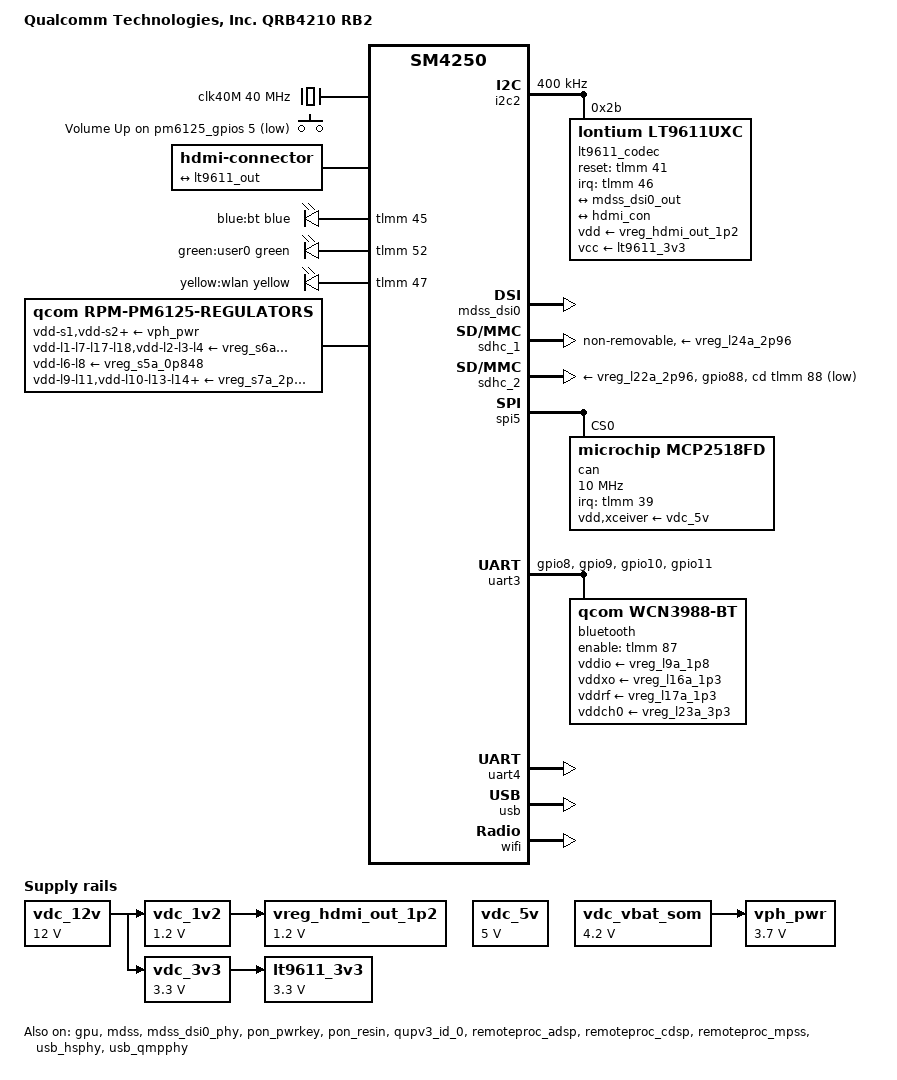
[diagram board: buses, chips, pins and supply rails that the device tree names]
// SPDX-License-Identifier: BSD-3-Clause
/*
 * Copyright (c) 2023, Linaro Limited
 */

/dts-v1/;

#include <dt-bindings/leds/common.h>
#include "sm4250.dtsi"
#include "pm6125.dtsi"

/ {
	model = "Qualcomm Technologies, Inc. QRB4210 RB2";
	compatible = "qcom,qrb4210-rb2", "qcom,qrb4210", "qcom,sm4250";

	aliases {
		serial0 = &uart4;
		serial1 = &uart3;
	};

	chosen {
		stdout-path = "serial0:115200n8";
	};

	clocks {
		clk40M: can-clk {
			compatible = "fixed-clock";
			clock-frequency = <40000000>;
			#clock-cells = <0>;
		};
	};

	gpio-keys {
		compatible = "gpio-keys";
		label = "gpio-keys";

		pinctrl-0 = <&kypd_vol_up_n>;
		pinctrl-names = "default";

		key-volume-up {
			label = "Volume Up";
			linux,code = <KEY_VOLUMEUP>;
			gpios = <&pm6125_gpios 5 GPIO_ACTIVE_LOW>;
			debounce-interval = <15>;
			linux,can-disable;
			wakeup-source;
		};
	};

	hdmi-connector {
		compatible = "hdmi-connector";
		type = "a";

		port {
			hdmi_con: endpoint {
				remote-endpoint = <&lt9611_out>;
			};
		};
	};

	leds {
		compatible = "gpio-leds";

		led-bt {
			label = "blue:bt";
			function = LED_FUNCTION_BLUETOOTH;
			color = <LED_COLOR_ID_BLUE>;
			gpios = <&tlmm 45 GPIO_ACTIVE_HIGH>;
			linux,default-trigger = "bluetooth-power";
			default-state = "off";
		};

		led-user0 {
			label = "green:user0";
			function = LED_FUNCTION_INDICATOR;
			color = <LED_COLOR_ID_GREEN>;
			gpios = <&tlmm 52 GPIO_ACTIVE_HIGH>;
			linux,default-trigger = "none";
			default-state = "off";
			panic-indicator;
		};

		led-wlan {
			label = "yellow:wlan";
			function = LED_FUNCTION_WLAN;
			color = <LED_COLOR_ID_YELLOW>;
			gpios = <&tlmm 47 GPIO_ACTIVE_HIGH>;
			linux,default-trigger = "phy0tx";
			default-state = "off";
		};
	};

	vreg_hdmi_out_1p2: regulator-hdmi-out-1p2 {
		compatible = "regulator-fixed";
		regulator-name = "VREG_HDMI_OUT_1P2";
		regulator-min-microvolt = <1200000>;
		regulator-max-microvolt = <1200000>;
		vin-supply = <&vdc_1v2>;
		regulator-always-on;
		regulator-boot-on;
	};

	lt9611_3v3: regulator-lt9611-3v3 {
		compatible = "regulator-fixed";
		regulator-name = "LT9611_3V3";
		regulator-min-microvolt = <3300000>;
		regulator-max-microvolt = <3300000>;
		vin-supply = <&vdc_3v3>;
		regulator-always-on;
		regulator-boot-on;
	};

	/* Main barrel jack input */
	vdc_12v: regulator-vdc-12v {
		compatible = "regulator-fixed";
		regulator-name = "DC_12V";
		regulator-min-microvolt = <12000000>;
		regulator-max-microvolt = <12000000>;
		regulator-always-on;
		regulator-boot-on;
	};

	/* 1.2V supply stepped down from the barrel jack input */
	vdc_1v2: regulator-vdc-1v2 {
		compatible = "regulator-fixed";
		regulator-name = "VDC_1V2";
		regulator-min-microvolt = <1200000>;
		regulator-max-microvolt = <1200000>;
		vin-supply = <&vdc_12v>;
		regulator-always-on;
		regulator-boot-on;
	};

	/* 3.3V supply stepped down from the barrel jack input */
	vdc_3v3: regulator-vdc-3v3 {
		compatible = "regulator-fixed";
		regulator-name = "VDC_3V3";
		regulator-min-microvolt = <3300000>;
		regulator-max-microvolt = <3300000>;
		vin-supply = <&vdc_12v>;
		regulator-always-on;
		regulator-boot-on;
	};

	/* 5V supply stepped down from the barrel jack input */
	vdc_5v: regulator-vdc-5v {
		compatible = "regulator-fixed";
		regulator-name = "VDC_5V";

		regulator-min-microvolt = <5000000>;
		regulator-max-microvolt = <5000000>;
		regulator-always-on;
		regulator-boot-on;
	};

	/* "Battery" voltage for the SoM, stepped down from the barrel jack input */
	vdc_vbat_som: regulator-vdc-vbat {
		compatible = "regulator-fixed";
		regulator-name = "VBAT_SOM";
		regulator-min-microvolt = <4200000>;
		regulator-max-microvolt = <4200000>;
		regulator-always-on;
		regulator-boot-on;
	};

	/* PMI632 charger out, supplied by VBAT */
	vph_pwr: regulator-vph-pwr {
		compatible = "regulator-fixed";
		regulator-name = "vph_pwr";
		regulator-min-microvolt = <3700000>;
		regulator-max-microvolt = <3700000>;
		vin-supply = <&vdc_vbat_som>;

		regulator-always-on;
		regulator-boot-on;
	};
};

&gpi_dma0 {
	status = "okay";
};

&gpu {
	status = "okay";

	zap-shader {
		firmware-name = "qcom/qrb4210/a610_zap.mbn";
	};
};

&i2c2 {
	clock-frequency = <400000>;
	status = "okay";

	lt9611_codec: hdmi-bridge@2b {
		compatible = "lontium,lt9611uxc";
		reg = <0x2b>;
		interrupts-extended = <&tlmm 46 IRQ_TYPE_EDGE_FALLING>;
		reset-gpios = <&tlmm 41 GPIO_ACTIVE_HIGH>;

		vdd-supply = <&vreg_hdmi_out_1p2>;
		vcc-supply = <&lt9611_3v3>;

		pinctrl-0 = <&lt9611_irq_pin &lt9611_rst_pin>;
		pinctrl-names = "default";
		#sound-dai-cells = <1>;

		ports {
			#address-cells = <1>;
			#size-cells = <0>;

			port@0 {
				reg = <0>;

				lt9611_a: endpoint {
					remote-endpoint = <&mdss_dsi0_out>;
				};
			};

			port@2 {
				reg = <2>;

				lt9611_out: endpoint {
					remote-endpoint = <&hdmi_con>;
				};
			};
		};
	};
};

&mdss {
	status = "okay";
};

&mdss_dsi0 {
	vdda-supply = <&vreg_l18a_1p232>;
	status = "okay";
};

&mdss_dsi0_out {
	remote-endpoint = <&lt9611_a>;
	data-lanes = <0 1 2 3>;
};

&mdss_dsi0_phy {
	status = "okay";
};

&pm6125_gpios {
	kypd_vol_up_n: kypd-vol-up-n-state {
		pins = "gpio5";
		function = "normal";
		power-source = <0>;
		bias-pull-up;
		input-enable;
	};
};

&pon_pwrkey {
	status = "okay";
};

&pon_resin {
	linux,code = <KEY_VOLUMEDOWN>;
	status = "okay";
};

&qupv3_id_0 {
	status = "okay";
};

&remoteproc_adsp {
	firmware-name = "qcom/qrb4210/adsp.mbn";

	status = "okay";
};

&remoteproc_cdsp {
	firmware-name = "qcom/qrb4210/cdsp.mbn";

	status = "okay";
};

&remoteproc_mpss {
	firmware-name = "qcom/qrb4210/modem.mbn";

	status = "okay";
};

&rpm_requests {
	regulators {
		compatible = "qcom,rpm-pm6125-regulators";

		vdd-s1-supply = <&vph_pwr>;
		vdd-s2-supply = <&vph_pwr>;
		vdd-s3-supply = <&vph_pwr>;
		vdd-s4-supply = <&vph_pwr>;
		vdd-s5-supply = <&vph_pwr>;
		vdd-s6-supply = <&vph_pwr>;
		vdd-s7-supply = <&vph_pwr>;
		vdd-s8-supply = <&vph_pwr>;
		vdd-s9-supply = <&vph_pwr>;
		vdd-s10-supply = <&vph_pwr>;

		vdd-l1-l7-l17-l18-supply = <&vreg_s6a_1p352>;
		vdd-l2-l3-l4-supply = <&vreg_s6a_1p352>;
		vdd-l5-l15-l19-l20-l21-l22-supply = <&vph_pwr>;
		vdd-l6-l8-supply = <&vreg_s5a_0p848>;
		vdd-l9-l11-supply = <&vreg_s7a_2p04>;
		vdd-l10-l13-l14-supply = <&vreg_s7a_2p04>;
		vdd-l12-l16-supply = <&vreg_s7a_2p04>;
		vdd-l23-l24-supply = <&vph_pwr>;

		vreg_s5a_0p848: s5 {
			regulator-min-microvolt = <920000>;
			regulator-max-microvolt = <1128000>;
		};

		vreg_s6a_1p352: s6 {
			regulator-min-microvolt = <304000>;
			regulator-max-microvolt = <1456000>;
		};

		vreg_s7a_2p04: s7 {
			regulator-min-microvolt = <1280000>;
			regulator-max-microvolt = <2080000>;
		};

		vreg_l1a_1p0: l1 {
			regulator-min-microvolt = <952000>;
			regulator-max-microvolt = <1152000>;
		};

		vreg_l4a_0p9: l4 {
			regulator-min-microvolt = <488000>;
			regulator-max-microvolt = <1000000>;
		};

		vreg_l5a_2p96: l5 {
			regulator-min-microvolt = <1648000>;
			regulator-max-microvolt = <3056000>;
			regulator-allow-set-load;
		};

		vreg_l6a_0p6: l6 {
			regulator-min-microvolt = <576000>;
			regulator-max-microvolt = <656000>;
		};

		vreg_l7a_1p256: l7 {
			regulator-min-microvolt = <1200000>;
			regulator-max-microvolt = <1304000>;
		};

		vreg_l8a_0p664: l8 {
			regulator-min-microvolt = <640000>;
			regulator-max-microvolt = <640000>;
		};

		vreg_l9a_1p8: l9 {
			regulator-min-microvolt = <1800000>;
			regulator-max-microvolt = <1800000>;
			regulator-allow-set-load;
		};

		vreg_l10a_1p8: l10 {
			regulator-min-microvolt = <1704000>;
			regulator-max-microvolt = <1904000>;
		};

		vreg_l11a_1p8: l11 {
			regulator-min-microvolt = <1704000>;
			regulator-max-microvolt = <1952000>;
			regulator-allow-set-load;
		};

		vreg_l12a_1p8: l12 {
			regulator-min-microvolt = <1624000>;
			regulator-max-microvolt = <1984000>;
		};

		vreg_l13a_1p8: l13 {
			regulator-min-microvolt = <1504000>;
			regulator-max-microvolt = <1952000>;
		};

		vreg_l14a_1p8: l14 {
			regulator-min-microvolt = <1704000>;
			regulator-max-microvolt = <1904000>;
		};

		vreg_l15a_3p128: l15 {
			regulator-min-microvolt = <2920000>;
			regulator-max-microvolt = <3232000>;
		};

		vreg_l16a_1p3: l16 {
			regulator-min-microvolt = <1704000>;
			regulator-max-microvolt = <1904000>;
			regulator-allow-set-load;
		};

		vreg_l17a_1p3: l17 {
			regulator-min-microvolt = <1152000>;
			regulator-max-microvolt = <1384000>;
			regulator-allow-set-load;
		};

		vreg_l18a_1p232: l18 {
			regulator-min-microvolt = <1104000>;
			regulator-max-microvolt = <1312000>;
		};

		vreg_l19a_1p8: l19 {
			regulator-min-microvolt = <1624000>;
			regulator-max-microvolt = <3304000>;
		};

		vreg_l20a_1p8: l20 {
			regulator-min-microvolt = <1624000>;
			regulator-max-microvolt = <3304000>;
		};

		vreg_l21a_2p704: l21 {
			regulator-min-microvolt = <2400000>;
			regulator-max-microvolt = <3600000>;
		};

		vreg_l22a_2p96: l22 {
			regulator-min-microvolt = <2952000>;
			regulator-max-microvolt = <3304000>;
			regulator-system-load = <100000>;
			regulator-allow-set-load;
		};

		vreg_l23a_3p3: l23 {
			regulator-min-microvolt = <3312000>;
			regulator-max-microvolt = <3312000>;
			regulator-allow-set-load;
		};

		vreg_l24a_2p96: l24 {
			regulator-min-microvolt = <2704000>;
			regulator-max-microvolt = <3600000>;
			regulator-system-load = <100000>;
			regulator-allow-set-load;
		};
	};
};

&sdhc_1 {
	pinctrl-0 = <&sdc1_state_on>;
	pinctrl-1 = <&sdc1_state_off>;
	pinctrl-names = "default", "sleep";

	vmmc-supply = <&vreg_l24a_2p96>;
	vqmmc-supply = <&vreg_l11a_1p8>;
	no-sdio;
	non-removable;

	status = "okay";
};

&sdhc_2 {
	cd-gpios = <&tlmm 88 GPIO_ACTIVE_LOW>; /* card detect gpio */

	pinctrl-0 = <&sdc2_state_on &sdc2_card_det_n>;
	pinctrl-1 = <&sdc2_state_off &sdc2_card_det_n>;
	pinctrl-names = "default", "sleep";

	vmmc-supply = <&vreg_l22a_2p96>;
	vqmmc-supply = <&vreg_l5a_2p96>;
	no-sdio;

	status = "okay";
};

&spi5 {
	status = "okay";

	can@0 {
		compatible = "microchip,mcp2518fd";
		reg = <0>;
		interrupts-extended = <&tlmm 39 IRQ_TYPE_LEVEL_LOW>;
		clocks = <&clk40M>;
		spi-max-frequency = <10000000>;
		vdd-supply = <&vdc_5v>;
		xceiver-supply = <&vdc_5v>;
	};
};

&sleep_clk {
	clock-frequency = <32000>;
};

&tlmm {
	gpio-reserved-ranges = <43 2>, <49 1>, <54 1>,
			       <56 3>, <61 2>, <64 1>,
			       <68 1>, <72 8>, <96 1>;

	uart3_default: uart3-default-state {
		cts-pins {
			pins = "gpio8";
			function = "qup3";
			drive-strength = <2>;
			bias-bus-hold;
		};

		rts-pins {
			pins = "gpio9";
			function = "qup3";
			drive-strength = <2>;
			bias-disable;
		};

		tx-pins {
			pins = "gpio10";
			function = "qup3";
			drive-strength = <2>;
			bias-disable;
		};

		rx-pins {
			pins = "gpio11";
			function = "qup3";
			drive-strength = <2>;
			bias-pull-up;
		};
	};

	uart3_sleep: uart3-sleep-state {
		cts-pins {
			pins = "gpio8";
			function = "gpio";
			drive-strength = <2>;
			bias-bus-hold;
		};

		rts-pins {
			pins = "gpio9";
			function = "gpio";
			drive-strength = <2>;
			bias-pull-down;
		};

		tx-pins {
			pins = "gpio10";
			function = "gpio";
			drive-strength = <2>;
			bias-pull-up;
		};

		rx-pins {
			pins = "gpio11";
			function = "gpio";
			drive-strength = <2>;
			bias-pull-up;
		};
	};

	lt9611_rst_pin: lt9611-rst-state {
		pins = "gpio41";
		function = "gpio";
		input-disable;
		output-high;
	};

	lt9611_irq_pin: lt9611-irq-state {
		pins = "gpio46";
		function = "gpio";
		bias-disable;
	};

	sdc2_card_det_n: sd-card-det-n-state {
		pins = "gpio88";
		function = "gpio";
		drive-strength = <2>;
		bias-pull-up;
	};
};

&uart3 {
	interrupts-extended = <&intc GIC_SPI 330 IRQ_TYPE_LEVEL_HIGH>,
			      <&tlmm 11 IRQ_TYPE_LEVEL_HIGH>;
	pinctrl-0 = <&uart3_default>;
	pinctrl-1 = <&uart3_sleep>;
	pinctrl-names = "default", "sleep";
	status = "okay";

	bluetooth {
		compatible = "qcom,wcn3988-bt";

		vddio-supply = <&vreg_l9a_1p8>;
		vddxo-supply = <&vreg_l16a_1p3>;
		vddrf-supply = <&vreg_l17a_1p3>;
		vddch0-supply = <&vreg_l23a_3p3>;
		enable-gpios = <&tlmm 87 GPIO_ACTIVE_HIGH>;
		max-speed = <3200000>;
	};
};

&uart4 {
	status = "okay";
};

&usb {
	status = "okay";
};

&usb_dwc3 {
	maximum-speed = "super-speed";
};

&usb_hsphy {
	vdd-supply = <&vreg_l4a_0p9>;
	vdda-pll-supply = <&vreg_l12a_1p8>;
	vdda-phy-dpdm-supply = <&vreg_l15a_3p128>;

	status = "okay";
};

&usb_qmpphy {
	vdda-phy-supply = <&vreg_l4a_0p9>;
	vdda-pll-supply = <&vreg_l12a_1p8>;

	status = "okay";
};

&wifi {
	vdd-0.8-cx-mx-supply = <&vreg_l8a_0p664>;
	vdd-1.8-xo-supply = <&vreg_l16a_1p3>;
	vdd-1.3-rfa-supply = <&vreg_l17a_1p3>;
	vdd-3.3-ch0-supply = <&vreg_l23a_3p3>;
	qcom,ath10k-calibration-variant = "Thundercomm_RB2";

	status = "okay";
};

&xo_board {
	clock-frequency = <19200000>;
};
